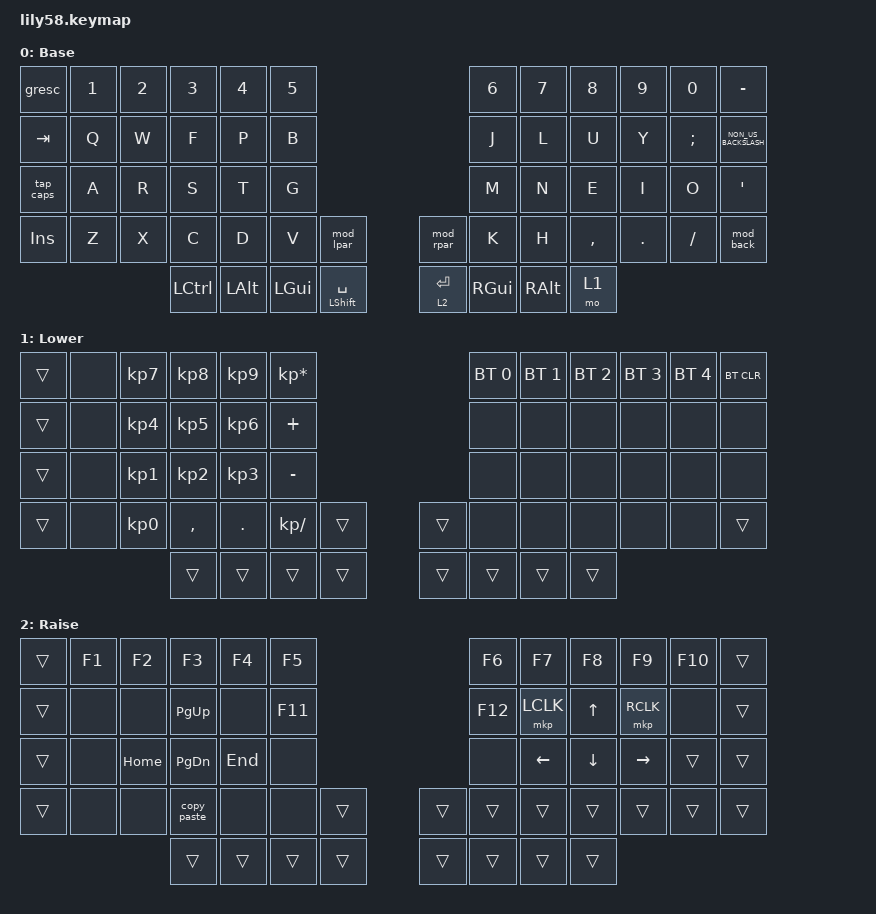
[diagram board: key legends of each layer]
/*
 * Copyright (c) 2020 The ZMK Contributors
 *
 * SPDX-License-Identifier: MIT
 */

#include <behaviors.dtsi>
#include <dt-bindings/zmk/bt.h>
#include <dt-bindings/zmk/keys.h>
#include <dt-bindings/zmk/mouse.h>

/ {
    behaviors {
        mod_lpar: mod_lpar {
            compatible = "zmk,behavior-mod-morph";
            label = "MOD_LPAR";
            bindings = <&kp LEFT_BRACKET>, <&kp LEFT_PARENTHESIS>;

            #binding-cells = <0>;
            mods = <(MOD_RALT)>;
        };

        mod_rpar: mod_rpar {
            compatible = "zmk,behavior-mod-morph";
            label = "MOD_RPAR";
            bindings = <&kp RIGHT_BRACKET>, <&kp RIGHT_PARENTHESIS>;

            #binding-cells = <0>;
            mods = <(MOD_RALT)>;
        };

        copy_paste: copy_paste {
            compatible = "zmk,behavior-mod-morph";
            label = "COPY_PASTE";
            bindings = <&kp LC(INSERT)>, <&kp INSERT>;

            #binding-cells = <0>;
            mods = <(MOD_LSFT)>;
            keep-mods = <(MOD_LSFT)>;
        };

        mod_back: mod_back {
            compatible = "zmk,behavior-mod-morph";
            label = "MOD_BACK";
            bindings = <&kp BACKSPACE>, <&kp DELETE>;

            #binding-cells = <0>;
            mods = <(MOD_RALT)>;
            keep-mods = <(MOD_LALT|MOD_LSFT|MOD_LCTL|MOD_LGUI)>;
        };

        tap_caps: tap_caps {
            compatible = "zmk,behavior-tap-dance";
            label = "TAP_CAPS";
            #binding-cells = <0>;
            bindings = <&kp CAPSLOCK>, <&caps_word>;
        };
    };

    combos { compatible = "zmk,combos"; };

    keymap {
        compatible = "zmk,keymap";

        colemak-dh {
            // ------------------------------------------------------------------------------------------------------------
            // |  ESC  |  1  |  2  |  3   |  4   |  5   |                   |  6   |  7    |  8    |  9   |   0   |   `   |
            // |  TAB  |  Q  |  W  |  E   |  R   |  T   |                   |  Y   |  U    |  I    |  O   |   P   |   -   |
            // |  CTRL |  A  |  S  |  D   |  F   |  G   |                   |  H   |  J    |  K    |  L   |   ;   |   '   |
            // | SHIFT |  Z  |  X  |  C   |  V   |  B   |   "["  |  |  "]"  |  N   |  M    |  ,    |  .   |   /   | SHIFT |
            //                     | ALT  | GUI  | LOWER|  SPACE |  | ENTER | RAISE| BSPC  | GUI   |

            display-name = "Base";
            bindings = <
&gresc     &kp N1  &kp N2  &kp N3            &kp N4        &kp N5                                       &kp N6    &kp N7         &kp N8     &kp N9   &kp N0    &kp MINUS
&kp TAB    &kp Q   &kp W   &kp F             &kp P         &kp B                                        &kp J     &kp L          &kp U      &kp Y    &kp SEMI  &kp NON_US_BACKSLASH
&tap_caps  &kp A   &kp R   &kp S             &kp T         &kp G                                        &kp M     &kp N          &kp E      &kp I    &kp O     &kp SQT
&kp INS    &kp Z   &kp X   &kp C             &kp D         &kp V     &mod_lpar               &mod_rpar  &kp K     &kp H          &kp COMMA  &kp DOT  &kp FSLH  &mod_back
                           &kp LEFT_CONTROL  &kp LEFT_ALT  &kp LGUI  &mt LEFT_SHIFT SPACE    &lt 2 RET  &kp RGUI  &kp RIGHT_ALT  &mo 1
            >;
        };

        numeric_layer {
            // ------------------------------------------------------------------------------------------------------------
            // | BTCLR | BT1 | BT2 |  BT3 |  BT4 |  BT5 |                   |      |       |       |      |       |       |
            // |  F1   |  F2 |  F3 |  F4  |  F5  |  F6  |                   |  F7  |  F8   |  F9   |  F10 |  F11  |  F12  |
            // |   `   |  !  |  @  |  #   |  $   |  %   |                   |  ^   |  &    |  *    |  (   |   )   |   ~   |
            // |       |     |     |      |      |      |        |  |       |      |  _    |  +    |  {   |   }   |  "|"  |
            //                     |      |      |      |        |  |       |      |       |       |

            display-name = "Lower";
            bindings = <
&trans  &none  &kp KP_NUMBER_7  &kp KP_NUMBER_8  &kp KP_NUMBER_9  &kp KP_MULTIPLY                    &bt BT_SEL 0  &bt BT_SEL 1  &bt BT_SEL 2  &bt BT_SEL 3  &bt BT_SEL 4  &bt BT_CLR
&trans  &none  &kp KP_NUMBER_4  &kp KP_NUMBER_5  &kp KP_NUMBER_6  &kp PLUS                           &none         &none         &none         &none         &none         &none
&trans  &none  &kp KP_NUMBER_1  &kp KP_NUMBER_2  &kp KP_NUMBER_3  &kp MINUS                          &none         &none         &none         &none         &none         &none
&trans  &none  &kp KP_NUMBER_0  &kp COMMA        &kp PERIOD       &kp KP_DIVIDE    &trans    &trans  &none         &none         &none         &none         &none         &trans
                                &trans           &trans           &trans           &trans    &trans  &trans        &trans        &trans
            >;
        };

        navi_layer {
            // ------------------------------------------------------------------------------------------------------------
            // |       |     |     |      |      |      |                   |      |       |       |      |       |       |
            // |   `   |  1  |  2  |  3   |  4   |  5   |                   |  6   |   7   |   8   |  9   |   0   |       |
            // |   F1  |  F2 |  F3 |  F4  |  F5  |  F6  |                   |      |   <-  |   v   |  ^   |  ->   |       |
            // |   F7  |  F8 |  F9 |  F10 |  F11 |  F12 |        |  |       |  +   |   -   |   =   |  [   |   ]   |   \   |
            //                     |      |      |      |        |  |       |      |       |       |

            display-name = "Raise";
            bindings = <
&trans  &kp F1  &kp F2    &kp F3       &kp F4   &kp F5                     &kp F6   &kp F7     &kp F8        &kp F9           &kp F10  &trans
&trans  &none   &none     &kp PG_UP    &none    &kp F11                    &kp F12  &mkp LCLK  &kp UP_ARROW  &mkp RCLK        &none    &trans
&trans  &none   &kp HOME  &kp PG_DN    &kp END  &none                      &none    &kp LEFT   &kp DOWN      &kp RIGHT_ARROW  &trans   &trans
&trans  &none   &none     &copy_paste  &none    &none    &trans    &trans  &trans   &trans     &trans        &trans           &trans   &trans
                          &trans       &trans   &trans   &trans    &trans  &trans   &trans     &trans
            >;
        };
    };
};
